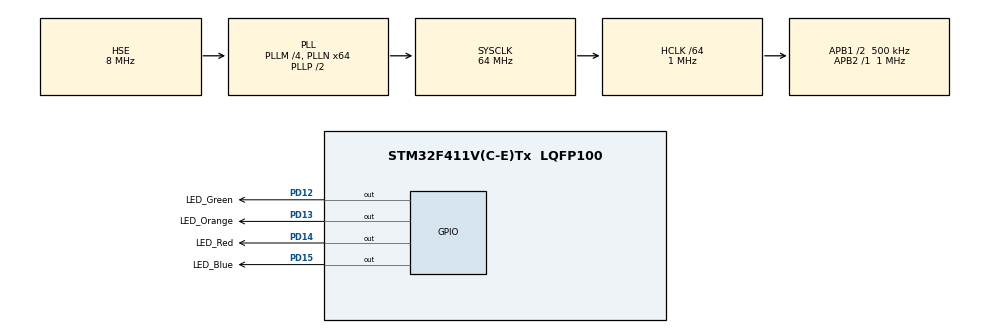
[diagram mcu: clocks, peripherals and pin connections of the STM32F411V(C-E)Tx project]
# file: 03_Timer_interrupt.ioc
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Mcu.Family=STM32F4
Mcu.Name=STM32F411V(C-E)Tx
Mcu.Package=LQFP100
NVIC.PriorityGroup=NVIC_PRIORITYGROUP_4
NVIC.TIM1_UP_TIM10_IRQn=true\:0\:0\:false\:false\:true
PD12.GPIO_Label=LED_Green
PD12.Signal=GPIO_Output
PD13.GPIO_Label=LED_Orange
PD13.Signal=GPIO_Output
PD14.GPIO_Label=LED_Red
PD14.Signal=GPIO_Output
PD15.GPIO_Label=LED_Blue
PD15.Signal=GPIO_Output
PH0\ -\ OSC_IN.Mode=HSE-External-Oscillator
PH0\ -\ OSC_IN.Signal=RCC_OSC_IN
PH1\ -\ OSC_OUT.Mode=HSE-External-Oscillator
PH1\ -\ OSC_OUT.Signal=RCC_OSC_OUT
ProjectManager.HeapSize=0x200
ProjectManager.StackSize=0x400
ProjectManager.TargetToolchain=SW4STM32
RCC.48MHZClocksFreq_Value=32000000
RCC.AHBCLKDivider=RCC_SYSCLK_DIV64
RCC.AHBFreq_Value=1000000
RCC.APB1CLKDivider=RCC_HCLK_DIV2
RCC.APB1Freq_Value=500000
RCC.APB1TimFreq_Value=1000000
RCC.APB2Freq_Value=1000000
RCC.APB2TimFreq_Value=1000000
RCC.CortexFreq_Value=1000000
RCC.HCLKFreq_Value=1000000
RCC.HSE_VALUE=8000000
RCC.HSI_VALUE=16000000
RCC.LSE_VALUE=32768
RCC.PLLM=4
RCC.PLLN=64
RCC.PLLSourceVirtual=RCC_PLLSOURCE_HSE
RCC.SYSCLKFreq_VALUE=64000000
RCC.SYSCLKSource=RCC_SYSCLKSOURCE_PLLCLK
RCC.VCOOutputFreq_Value=128000000
TIM10.Period=999
TIM10.Prescaler=999
VP_TIM10_VS_ClockSourceINT.Mode=Enable_Timer
board=03_Timer_interrupt

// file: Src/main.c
/**
  ******************************************************************************
  * File Name          : main.c
  * Description        : Main program body
  ******************************************************************************
  *
  * COPYRIGHT(c) 2017 STMicroelectronics
  *
  * Redistribution and use in source and binary forms, with or without modification,
  * are permitted provided that the following conditions are met:
  *   1. Redistributions of source code must retain the above copyright notice,
  *      this list of conditions and the following disclaimer.
  *   2. Redistributions in binary form must reproduce the above copyright notice,
  *      this list of conditions and the following disclaimer in the documentation
  *      and/or other materials provided with the distribution.
  *   3. Neither the name of STMicroelectronics nor the names of its contributors
  *      may be used to endorse or promote products derived from this software
  *      without specific prior written permission.
  *
  * THIS SOFTWARE IS PROVIDED BY THE COPYRIGHT HOLDERS AND CONTRIBUTORS "AS IS"
  * AND ANY EXPRESS OR IMPLIED WARRANTIES, INCLUDING, BUT NOT LIMITED TO, THE
  * IMPLIED WARRANTIES OF MERCHANTABILITY AND FITNESS FOR A PARTICULAR PURPOSE ARE
  * DISCLAIMED. IN NO EVENT SHALL THE COPYRIGHT HOLDER OR CONTRIBUTORS BE LIABLE
  * FOR ANY DIRECT, INDIRECT, INCIDENTAL, SPECIAL, EXEMPLARY, OR CONSEQUENTIAL
  * DAMAGES (INCLUDING, BUT NOT LIMITED TO, PROCUREMENT OF SUBSTITUTE GOODS OR
  * SERVICES; LOSS OF USE, DATA, OR PROFITS; OR BUSINESS INTERRUPTION) HOWEVER
  * CAUSED AND ON ANY THEORY OF LIABILITY, WHETHER IN CONTRACT, STRICT LIABILITY,
  * OR TORT (INCLUDING NEGLIGENCE OR OTHERWISE) ARISING IN ANY WAY OUT OF THE USE
  * OF THIS SOFTWARE, EVEN IF ADVISED OF THE POSSIBILITY OF SUCH DAMAGE.
  *
  ******************************************************************************
  */
#include "main.h"
#include "stm32f4xx_hal.h"

TIM_HandleTypeDef htim10;

/* USER CODE BEGIN PV */
/* Private variables ---------------------------------------------------------*/
static uint16_t counter = 0; 		// licznik
/* USER CODE END PV */

void SystemClock_Config(void);
void Error_Handler(void);
static void MX_GPIO_Init(void);
static void MX_TIM10_Init(void);

/* USER CODE BEGIN PFP */
/* Private function prototypes -----------------------------------------------*/
void HAL_TIM_PeriodElapsedCallback(TIM_HandleTypeDef *htim);
/* USER CODE END PFP */

int main(void)
{

  /* MCU Configuration----------------------------------------------------------*/

  /* Reset of all peripherals, Initializes the Flash interface and the Systick. */
  HAL_Init();

  /* Configure the system clock */
  SystemClock_Config();

  /* Initialize all configured peripherals */
  MX_GPIO_Init();
  MX_TIM10_Init();

  /* USER CODE BEGIN 2 */
HAL_TIM_Base_Start_IT(&htim10);
  /* USER CODE END 2 */

  /* Infinite loop */
  while (1)
  {

  }

}

/** System Clock Configuration
*/
void SystemClock_Config(void)
{

  RCC_OscInitTypeDef RCC_OscInitStruct;
  RCC_ClkInitTypeDef RCC_ClkInitStruct;

    /**Configure the main internal regulator output voltage
    */
  __HAL_RCC_PWR_CLK_ENABLE();

  __HAL_PWR_VOLTAGESCALING_CONFIG(PWR_REGULATOR_VOLTAGE_SCALE1);

    /**Initializes the CPU, AHB and APB busses clocks
    */
  RCC_OscInitStruct.OscillatorType = RCC_OSCILLATORTYPE_HSE;
  RCC_OscInitStruct.HSEState = RCC_HSE_ON;
  RCC_OscInitStruct.PLL.PLLState = RCC_PLL_ON;
  RCC_OscInitStruct.PLL.PLLSource = RCC_PLLSOURCE_HSE;
  RCC_OscInitStruct.PLL.PLLM = 4;
  RCC_OscInitStruct.PLL.PLLN = 64;
  RCC_OscInitStruct.PLL.PLLP = RCC_PLLP_DIV2;
  RCC_OscInitStruct.PLL.PLLQ = 4;
  if (HAL_RCC_OscConfig(&RCC_OscInitStruct) != HAL_OK)
  {
    Error_Handler();
  }

    /**Initializes the CPU, AHB and APB busses clocks
    */
  RCC_ClkInitStruct.ClockType = RCC_CLOCKTYPE_HCLK|RCC_CLOCKTYPE_SYSCLK
                              |RCC_CLOCKTYPE_PCLK1|RCC_CLOCKTYPE_PCLK2;
  RCC_ClkInitStruct.SYSCLKSource = RCC_SYSCLKSOURCE_PLLCLK;
  RCC_ClkInitStruct.AHBCLKDivider = RCC_SYSCLK_DIV64;
  RCC_ClkInitStruct.APB1CLKDivider = RCC_HCLK_DIV2;
  RCC_ClkInitStruct.APB2CLKDivider = RCC_HCLK_DIV1;

  if (HAL_RCC_ClockConfig(&RCC_ClkInitStruct, FLASH_LATENCY_0) != HAL_OK)
  {
    Error_Handler();
  }

    /**Configure the Systick interrupt time
    */
  HAL_SYSTICK_Config(HAL_RCC_GetHCLKFreq()/1000);

    /**Configure the Systick
    */
  HAL_SYSTICK_CLKSourceConfig(SYSTICK_CLKSOURCE_HCLK);

  /* SysTick_IRQn interrupt configuration */
  HAL_NVIC_SetPriority(SysTick_IRQn, 0, 0);
}

/* TIM10 init function */
static void MX_TIM10_Init(void)
{

  htim10.Instance = TIM10;
  htim10.Init.Prescaler = 999;
  htim10.Init.CounterMode = TIM_COUNTERMODE_UP;
  htim10.Init.Period = 999;
  htim10.Init.ClockDivision = TIM_CLOCKDIVISION_DIV1;
  if (HAL_TIM_Base_Init(&htim10) != HAL_OK)
  {
    Error_Handler();
  }

}

/** Configure pins as
        * Analog
        * Input
        * Output
        * EVENT_OUT
        * EXTI
*/
static void MX_GPIO_Init(void)
{

  GPIO_InitTypeDef GPIO_InitStruct;

  /* GPIO Ports Clock Enable */
  __HAL_RCC_GPIOH_CLK_ENABLE();
  __HAL_RCC_GPIOD_CLK_ENABLE();

  /*Configure GPIO pin Output Level */
  HAL_GPIO_WritePin(GPIOD, LED_Green_Pin|LED_Orange_Pin|LED_Red_Pin|LED_Blue_Pin, GPIO_PIN_RESET);

  /*Configure GPIO pins : LED_Green_Pin LED_Orange_Pin LED_Red_Pin LED_Blue_Pin */
  GPIO_InitStruct.Pin = LED_Green_Pin|LED_Orange_Pin|LED_Red_Pin|LED_Blue_Pin;
  GPIO_InitStruct.Mode = GPIO_MODE_OUTPUT_PP;
  GPIO_InitStruct.Pull = GPIO_NOPULL;
  GPIO_InitStruct.Speed = GPIO_SPEED_FREQ_LOW;
  HAL_GPIO_Init(GPIOD, &GPIO_InitStruct);

}

/* USER CODE BEGIN 4 */
void HAL_TIM_PeriodElapsedCallback(TIM_HandleTypeDef *htim)
{
	uint16_t time=1;
	if(htim->Instance == TIM10)
		{
		if(counter == 7*time+2)
			{counter=0;}
		if ((counter == 0*time) || (counter == 1*time))
			{HAL_GPIO_TogglePin(LED_Orange_GPIO_Port,LED_Orange_Pin);}
		else if ((counter == 2*time) || (counter == 3*time))
			{HAL_GPIO_TogglePin(LED_Red_GPIO_Port,LED_Red_Pin);}
		else if ((counter == 4*time) || (counter == 5*time))
			{HAL_GPIO_TogglePin(LED_Blue_GPIO_Port,LED_Blue_Pin);}
		else if ((counter == 6*time) || (counter == 7*time))
			{HAL_GPIO_TogglePin(LED_Green_GPIO_Port,LED_Green_Pin);}
		counter++;
		}
}
/* USER CODE END 4 */

void Error_Handler(void)
{
  while(1)
  {
  }
}

/************************ (C) COPYRIGHT STMicroelectronics *****END OF FILE****/
